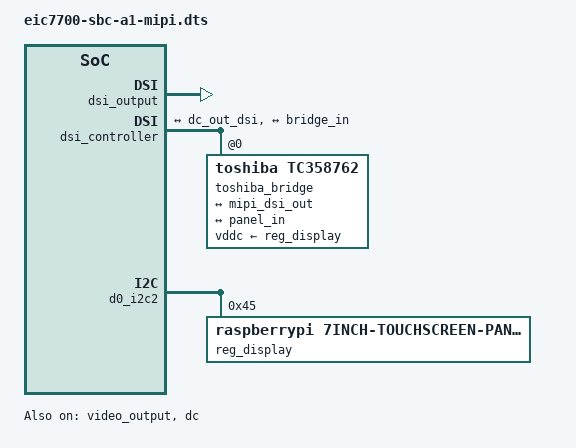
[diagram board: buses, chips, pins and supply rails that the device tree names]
// SPDX-License-Identifier: GPL-2.0
/*
 * Device Tree file for Eswin EIC7700 SoC.
 *
 * Copyright 2024, Beijing ESWIN Computing Technology Co., Ltd.. All rights reserved.
 * SPDX-License-Identifier: GPL-2.0
 *
 * This program is free software: you can redistribute it and/or modify
 * it under the terms of the GNU General Public License as published by
 * the Free Software Foundation, version 2.
 *
 * This program is distributed in the hope that it will be useful,
 * but WITHOUT ANY WARRANTY; without even the implied warranty of
 * MERCHANTABILITY or FITNESS FOR A PARTICULAR PURPOSE.  See the
 * GNU General Public License for more details.
 *
 * You should have received a copy of the GNU General Public License
 * along with this program.  If not, see <https://www.gnu.org/licenses/>.
 */

#include "eic7700-sbc-a1.dtsi"

/* Clock frequency (in Hz) of the PCB crystal for rtcclk */


&video_output {
	status = "okay";
	power-supply = <&reg_display>;
};

&dc {
	status = "okay";
	dc_out: port {
		#address-cells = <1>;
		#size-cells = <0>;
                dc_out_dsi: endpoint@0 {
                        reg = <0>;
			remote-endpoint = <&dsi_input>;
		};
		dc_out_dpi: endpoint@1 {
			reg = <1>;
			remote-endpoint = <&vd_input>;
		};
	};
};

&dsi_output {
    status = "okay";
};

&dsi_controller {
	status = "okay";
	dependencies = <&reg_display>;
	dependencies = <&rasp_panel>;
	dependencies = <&toshiba_bridge>;

	pinctrl-names = "default";
	pinctrl-0 = <&pinctrl_gpio28_default>;
	dsi-mux-gpio = <&porta 28 GPIO_ACTIVE_HIGH>;

	ports {
		#address-cells = <1>;
		#size-cells = <0>;
		port@0 {
			#address-cells = <1>;
			#size-cells = <0>;
			reg = <0>;
			dsi_input: endpoint {
				remote-endpoint = <&dc_out_dsi>;
			};
		};

		port@1 {
			#address-cells = <1>;
			#size-cells = <0>;
			reg = <1>;
			mipi_dsi_out: endpoint {
				remote-endpoint = <&bridge_in>;
			};
		};
	};

	toshiba_bridge: bridge@0 {
		reg = <0>;
		compatible = "toshiba,tc358762";
		status = "okay";
		vddc-supply = <&reg_display>;
		ports {
			#address-cells = <1>;
			#size-cells = <0>;

			port@0 {
				reg = <0>;
				bridge_in: endpoint {
					remote-endpoint = <&mipi_dsi_out>;
				};
			};

			port@1 {
				reg = <1>;
				bridge_out: endpoint {
					remote-endpoint = <&panel_in>;
				};
			};
		};
	};

};


&rasp_panel {
        status = "okay";
        backlight = <&reg_display>;
        power-supply = <&reg_display>;

        port {
                panel_in: endpoint {
                        remote-endpoint = <&bridge_out>;
                };
        };
};


&d0_i2c2 {
	/* touch screen*/
	status = "okay";
	reg_display: regulator@45 {
		status = "okay";
		compatible = "raspberrypi,7inch-touchscreen-panel-regulator";
		reg = <0x45>;
		gpio-controller;
		#gpio-cells = <2>;
	};
};

&dw_hdmi {
        status = "disabled";
};

